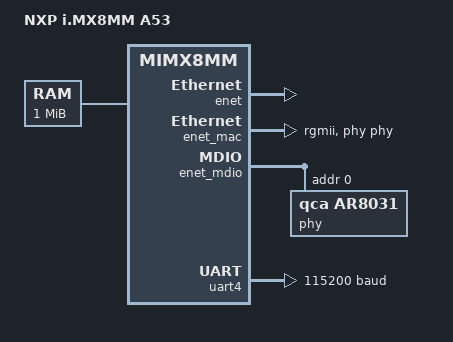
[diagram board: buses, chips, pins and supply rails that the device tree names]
/*
 * Copyright 2021-2022,2024 NXP
 *
 * SPDX-License-Identifier: Apache-2.0
 */

/dts-v1/;

#include <nxp/nxp_mimx8mm_a53.dtsi>
#include "imx8mm_evk-pinctrl.dtsi"

/ {
	model = "NXP i.MX8MM A53";
	compatible = "fsl,mimx8mm";

	chosen {
		zephyr,console = &uart4;
		zephyr,shell-uart = &uart4;
		zephyr,sram = &sram0;
	};

	cpus {
		cpu@0 {
			status = "disabled";
		};
		cpu@1 {
			status = "disabled";
		};
	};

	psci {
		compatible = "arm,psci-0.2";
		method = "smc";
	};

	sram0: memory@93c00000 {
		reg = <0x93c00000 DT_SIZE_M(1)>;
	};
};

&enet {
	status = "okay";
};

&enet_mac {
	pinctrl-0 = <&pinmux_enet>;
	pinctrl-names = "default";
	phy-handle = <&phy>;
	zephyr,random-mac-address;
	phy-connection-type = "rgmii";
	status = "okay";
};

&enet_mdio {
	pinctrl-0 = <&pinmux_mdio>;
	pinctrl-names = "default";
	status = "okay";
	phy: phy@0 {
		compatible = "qca,ar8031";
		reg = <0>;
		status = "okay";
	};
};

&uart4 {
	current-speed = <115200>;
	pinctrl-0 = <&uart4_default>;
	pinctrl-names = "default";
	status = "okay";
};
